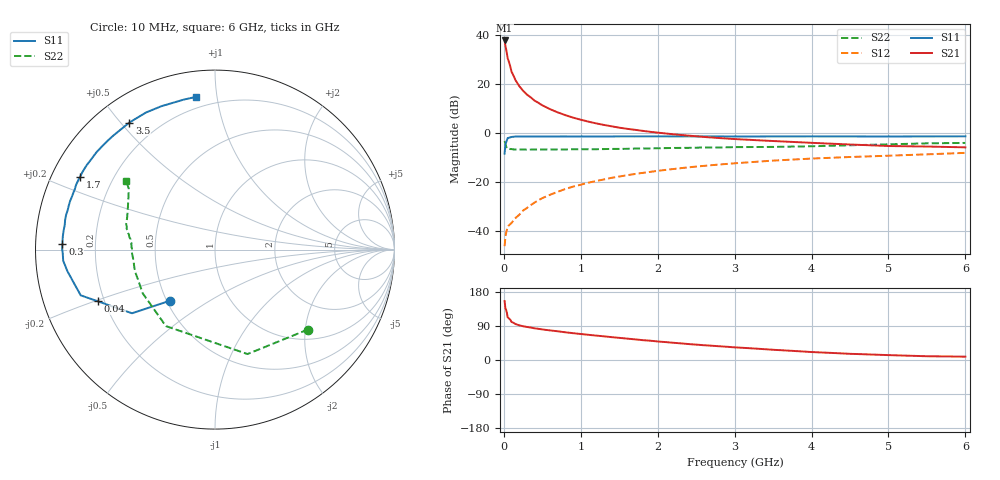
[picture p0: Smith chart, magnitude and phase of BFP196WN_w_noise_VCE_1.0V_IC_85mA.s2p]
! (c) 2017  Infineon Technologies AG, Munich
! Infineon Technologies  Discrete & RF Semiconductors
! BFP196WN
! VCE =  1.0 V,  IC =  85 mA
! Common Emitter S-Parameters:  Jan 2017
# GHz  S  MA  R  50
!  f  S11  S21  S12  S22
! GHz  MAG  ANG  MAG  ANG  MAG  ANG  MAG  ANG
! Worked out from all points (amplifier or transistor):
!   77 points, 10 MHz to 6 GHz, reference 50 ohm
!   highest |S21| = 37.8 dB at 10 MHz (marker M1)
!   |S21| within 3 dB of that: start of sweep to 26.01 MHz
!   unconditionally stable (mu >= 1): 285 MHz to 5.929 GHz
!   at 130 MHz: K = 0.79, MSG = 29.3 dB, |S12| = -35.5 dB
!   at 2.2 GHz: K = 1.06, MAG = 5.7 dB, |S12| = -14.7 dB
!   at 6 GHz: K = 1.00, MSG = 1.1 dB, |S12| = -8.1 dB
!   lowest NFmin = 1.64 dB at 450 MHz
!   S11 on the Smith chart (normalised r, x): 10 MHz: 0.52, -0.35; 40 MHz: 0.17, -0.20; 300 MHz: 0.08, +0.02; 1.7 GHz: 0.08, +0.25; 3.5 GHz: 0.10, +0.53; 6 GHz: 0.14, +0.87
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0.01  0.381 -131.5  77.59 155.6  0.0049 67.8  0.6828 -40.7
0.02  0.5826 -142.5  61.17 137.1  0.0076 54.0  0.6095 -72.7
0.04  0.7137 -156.2  41.76 124.2  0.0107 44.7  0.4934 -104.3
0.05  0.7905 -161.2  33.53 112.4  0.0123 41.9  0.5065 -122.7
0.1  0.8312 -171.7  17.81 100.3  0.0146 47.3  0.4706 -148.8
0.15  0.8481 -175.8  12.07 94.9  0.0183 54.5  0.4603 -159.5
0.2  0.8486 -178.6  9.107 91.6  0.0214 59.0  0.4619 -164.8
0.25  0.8515 179.7  7.291 89.1  0.0262 61.9  0.46 -168.0
0.3  0.8507 177.9  6.094 87.2  0.0295 64.8  0.4585 -170.8
0.4  0.8511 175.1  4.588 83.6  0.0381 69.1  0.4591 -173.8
0.5  0.85 172.8  3.674 80.7  0.0468 69.7  0.4615 -176.2
0.6  0.8484 170.7  3.077 78.1  0.0548 69.8  0.4635 -178.1
0.8  0.8519 166.9  2.315 73.1  0.0721 71.3  0.4626 179.4
1.1  0.8514 161.5  1.706 66.5  0.0969 69.6  0.467 176.2
1.4  0.8507 156.5  1.373 60.4  0.1217 67.6  0.4739 173.9
1.7  0.854 151.6  1.165 54.6  0.1454 65.3  0.481 171.9
2.1  0.8544 145.3  0.981 47.3  0.1765 61.6  0.4919 169.4
3.1  0.8505 130.1  0.739 32.2  0.2472 51.8  0.5162 163.2
3.5  0.8537 124.0  0.687 27.0  0.2735 48.1  0.5211 159.9
4.1  0.8539 115.5  0.621 20.1  0.3055 42.1  0.5416 153.6
5.1  0.8511 104.9  0.54 12.3  0.3489 34.0  0.5935 144.4
6  0.8572 97.2  0.51 8.8  0.3937 28.0  0.628 142.2
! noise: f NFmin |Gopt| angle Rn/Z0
0.45  1.64  0.59  -175  0.05
0.9  1.77  0.6  -168  0.07
1.9  2.75  0.7  -146  0.22
2.4  3.53  0.72  -138  0.37
